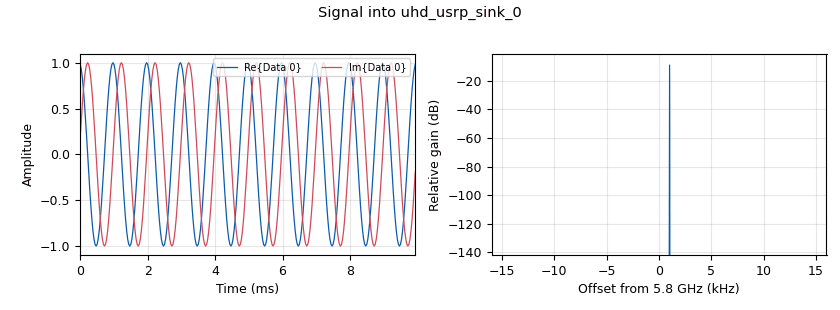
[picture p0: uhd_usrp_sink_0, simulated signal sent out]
options:
  parameters:
    generate_options: qt_gui
    id: rssi_tx
    output_language: python
    title: Not titled yet
  states: {}

blocks:
- name: samp_rate
  id: variable
  parameters:
    value: '32000'
  states: {}
- name: analog_sig_source_x_0
  id: analog_sig_source_x
  parameters:
    amp: '1'
    freq: '1000'
    offset: '0'
    phase: '0'
    samp_rate: samp_rate
    type: complex
    waveform: analog.GR_SIN_WAVE
  states: {}
- name: uhd_usrp_sink_0
  id: uhd_usrp_sink
  parameters:
    ant0: TX/RX
    bw0: 2e6
    center_freq0: 5.8e9
    dev_args: '""'
    gain0: '500'
    len_tag_name: ''
    norm_gain0: 'False'
    samp_rate: samp_rate
    sync: none
    type: fc32
  states: {}

connections:
- [analog_sig_source_x_0, '0', uhd_usrp_sink_0, '0']

metadata:
  file_format: 1
